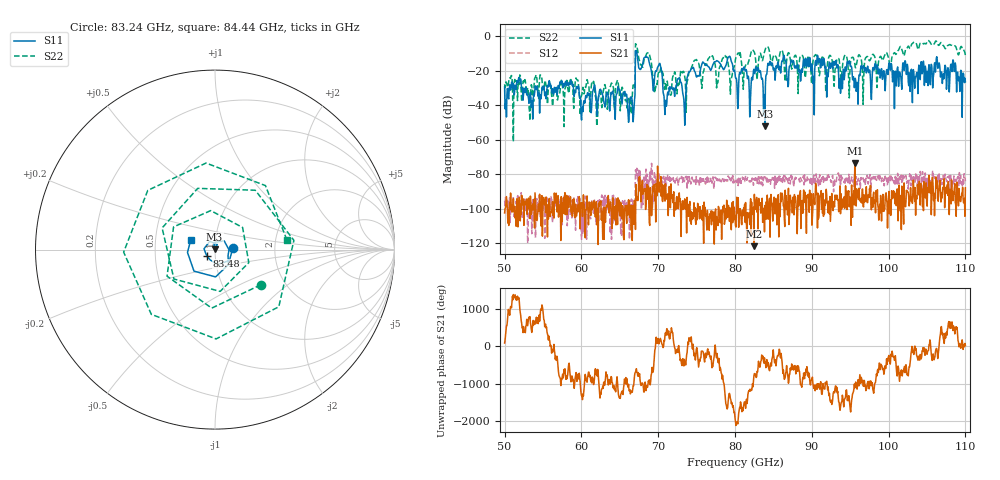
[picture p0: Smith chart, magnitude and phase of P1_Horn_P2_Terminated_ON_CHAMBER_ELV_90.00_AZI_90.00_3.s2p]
! 11/26/2026 11:15:11 AM
! C:\ANRITSUVNA\TEMP\TEMP.S2P
! CHANNEL.1
! TR.MEASUREMENT
! RAW.DATA
# HZ S RI R 50.0
! FREQ.HZ  S11RE  S11IM  S21RE  S21IM  S12RE  S12IM  S22RE  S22IM
!; PortSelection: Port_12
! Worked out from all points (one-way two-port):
!   1001 points, 50 GHz to 110 GHz, reference 50 ohm
!   highest |S21| = -73.40 dB at 95.6 GHz (marker M1); lowest = -121.7 dB at 82.46 GHz (marker M2)
!   lowest |S11| = -52.0 dB at 83.9 GHz (marker M3), VSWR 1.01, Z = 49.8 + j0.104 ohm
!   |S11| at or under -10 dB: start of sweep to 67.04 GHz; 67.24 GHz to end of sweep
!   |S22| runs from -61.1 to -2.4 dB; largest |S21 - S12| = 0.00033
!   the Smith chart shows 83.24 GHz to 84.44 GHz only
!   S11 on the Smith chart (normalised r, x): 83.24 GHz: 1.22, +0.02; 83.48 GHz: 0.91, -0.06; 84.44 GHz: 0.76, +0.08
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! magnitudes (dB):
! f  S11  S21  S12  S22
! 50 GHz  -29.3  -102.4  -95.3  -27.8
! 58.46 GHz  -27.0  -94.1  -92.8  -28.6
! 60.02 GHz  -48.5  -99.5  -117.7  -34.4
! 66.26 GHz  -39.6  -95.7  -117.7  -36.1
! 66.68 GHz  -43.0  -98.2  -94.9  -30.4
! 67.34 GHz  -13.7  -95.2  -79.5  -8.5
! 70.04 GHz  -17.1  -84.6  -81.6  -20.9
! 71 GHz  -37.1  -89.2  -87.0  -31.4
! 72.74 GHz  -23.9  -90.8  -82.6  -28.0
! 73.4 GHz  -42.2  -97.0  -84.3  -22.2
! 75.92 GHz  -15.4  -120.0  -82.7  -20.3
! 80 GHz  -21.2  -104.2  -84.1  -15.4
! 82.46 GHz  -19.1  -121.7  -82.9  -8.7
! 83.24 GHz  -20.0  -97.8  -82.5  -9.8
! 83.48 GHz  -24.7  -102.1  -81.5  -13.2
! 83.9 GHz  -52.0  -98.1  -80.6  -8.0
! 84.44 GHz  -16.7  -97.3  -83.0  -7.9
! 90.02 GHz  -16.0  -109.5  -86.0  -23.9
! 94.88 GHz  -14.2  -98.9  -82.9  -35.7
! 95.6 GHz  -26.8  -73.4  -77.7  -15.8
! 100 GHz  -15.6  -89.9  -83.1  -13.6
! 110 GHz  -26.3  -87.8  -84.0  -10.9
